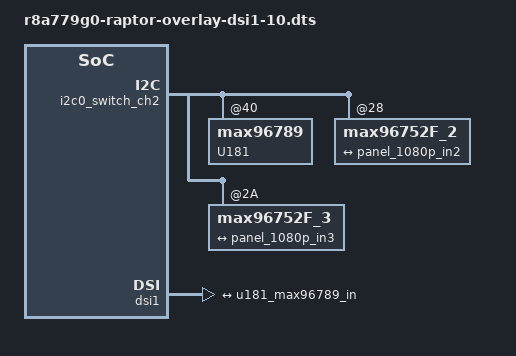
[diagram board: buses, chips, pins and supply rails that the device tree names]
// SPDX-License-Identifier: GPL-2.0

#include <dt-bindings/clock/r8a779g0-cpg-mssr.h>

/dts-v1/;
/plugin/;

/* overlay dsi to max96789 and 10" panel - disable lt9611 */

&rcar_sound {
	status = "disabled";
};

&i2c0_switch_ch1 {
	U26: lt9611@3b {
		status = "disabled";
	};
};

&i2c0_switch_ch2 {
	U181: max96789@40 {
		status = "okay";
	};

	max96752F_2@28 {
		status = "okay";

		panel_switch;
		
		ports {
			port@1 {
				reg = <1>;
				max96752F_out2: endpoint {
					remote-endpoint = <&panel_1080p_in2>;
				};
			};
		};
	};

	max96752F_3@2A {
		status = "okay";

		panel_switch;
		
		ports {
			port@1 {
				reg = <1>;
				max96752F_out3: endpoint {
					remote-endpoint = <&panel_1080p_in3>;
				};
			};
		};
	};
};

&dsi1 {
	ports {
		port@1 {
			endpoint {
				remote-endpoint = <&u181_max96789_in>;
			};
		};
	};
};
